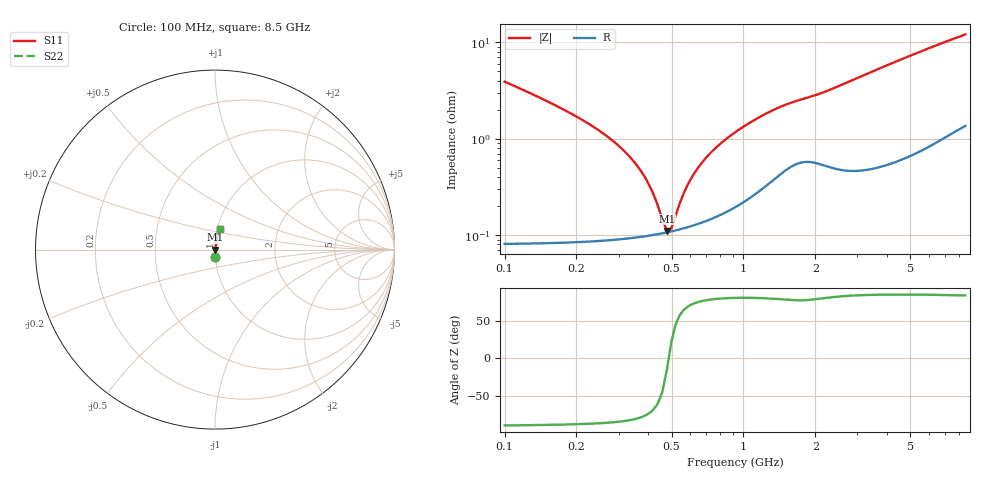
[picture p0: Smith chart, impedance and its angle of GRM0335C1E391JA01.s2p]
!Murata Part Number: GRM0335C1E391JA01
!These Parameters are Measured in Series Mode Connection
!Data Generated on Mar 30, 2021
!  o--ll--o
!Port1  Port2
!  o------o
!Operation Temp=25[degC], DC Bias Voltage=0[V]
!Freq. Start=100[MHz] Stop=9[GHz] 401[Steps]
# Hz S RI R 50
!Freq.(Hz) S11(Real) S11(Imag) S21(Real) S21(Imag) S12(Real) S12(Imag) S22(Real) S22(Imag)
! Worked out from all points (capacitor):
!   401 points, 100 MHz to 8.5 GHz, reference 50 ohm
!   read as one part in series: C = 390 pF near 142 MHz
!   lowest |Z| = 110 mohm at 478 MHz (marker M1)
!   series resonance near 486.4 MHz, so ESL is about 270 pH
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1e8  0.00233 -0.039  0.9977 0.039  0.9977 0.039  0.00233 -0.039
1.42e8  0.00151 -0.0262  0.9985 0.0262  0.9985 0.0262  0.00151 -0.0262
3.31e8  0.000967 -0.00661  0.999 0.00661  0.999 0.00661  0.000967 -0.00661
3.94e8  0.00099 -0.00355  0.999 0.00355  0.999 0.00355  0.00099 -0.00355
4.36e8  0.00102 -0.00183  0.999 0.00183  0.999 0.00183  0.00102 -0.00183
4.57e8  0.00104 -0.00104  0.999 0.00104  0.999 0.00104  0.00104 -0.00104
4.78e8  0.00107 -0.000288  0.9989 0.000288  0.9989 0.000288  0.00107 -0.000288
4.99e8  0.00109 0.000432  0.9989 -0.000432  0.9989 -0.000432  0.00109 0.000432
5.2e8  0.00112 0.00112  0.9989 -0.00112  0.9989 -0.00112  0.00112 0.00112
5.83e8  0.00121 0.00306  0.9988 -0.00306  0.9988 -0.00306  0.00121 0.00306
6.46e8  0.00133 0.00482  0.9987 -0.00482  0.9987 -0.00482  0.00133 0.00482
7.09e8  0.00146 0.00646  0.9985 -0.00646  0.9985 -0.00646  0.00146 0.00646
7.93e8  0.00167 0.00851  0.9983 -0.00851  0.9983 -0.00851  0.00167 0.00851
9.19e8  0.00206 0.0114  0.9979 -0.0114  0.9979 -0.0114  0.00206 0.0114
1.087e9  0.00273 0.0149  0.9973 -0.0149  0.9973 -0.0149  0.00273 0.0149
1.297e9  0.00386 0.0187  0.9961 -0.0187  0.9961 -0.0187  0.00386 0.0187
1.507e9  0.00518 0.0219  0.9948 -0.0219  0.9948 -0.0219  0.00518 0.0219
2.914e9  0.00627 0.0407  0.9937 -0.0407  0.9937 -0.0407  0.00627 0.0407
4.3e9  0.00943 0.0612  0.9906 -0.0612  0.9906 -0.0612  0.00943 0.0612
5.707e9  0.0143 0.0808  0.9857 -0.0808  0.9857 -0.0808  0.0143 0.0808
7.114e9  0.0204 0.099  0.9796 -0.099  0.9796 -0.099  0.0204 0.099
8.5e9  0.027 0.1151  0.973 -0.1151  0.973 -0.1151  0.027 0.1151
